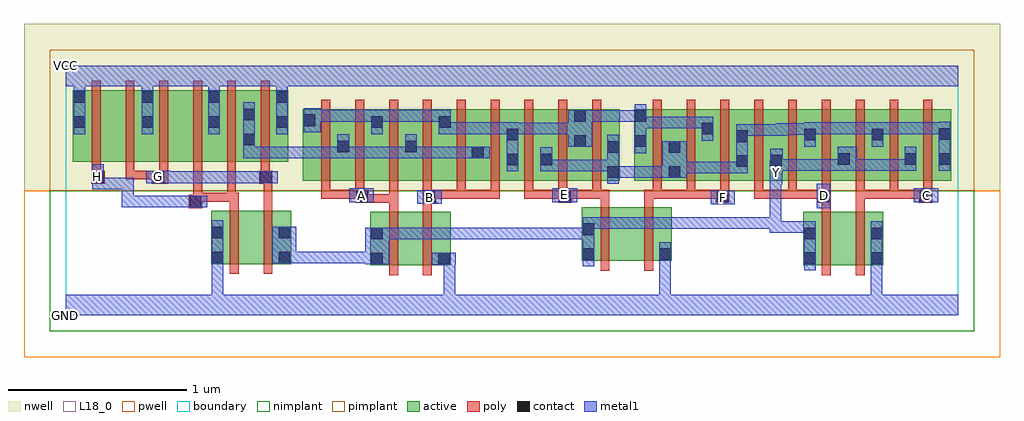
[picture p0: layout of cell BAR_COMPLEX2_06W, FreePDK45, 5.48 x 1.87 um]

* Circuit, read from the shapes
.subckt BAR_COMPLEX2_06W A B C D E F G GND H VCC Y
M1 n1 H GND VSUBS nfet w=0.3u l=0.05u
M2 Y G n1 VSUBS nfet w=0.3u l=0.05u
M3 n2 A Y VSUBS nfet w=0.3u l=0.05u
M4 GND B n2 VSUBS nfet w=0.3u l=0.05u
M5 n3 E Y VSUBS nfet w=0.3u l=0.05u
M6 GND F n3 VSUBS nfet w=0.3u l=0.05u
M7 n4 D Y VSUBS nfet w=0.3u l=0.05u
M8 GND C n4 VSUBS nfet w=0.3u l=0.05u
M9 n5 H VCC n6 pfet w=0.4u l=0.05u
M10 VCC G n5 n6 pfet w=0.4u l=0.05u
M11 n7 G VCC n6 pfet w=0.4u l=0.05u
M12 VCC H n7 n6 pfet w=0.4u l=0.05u
M13 n8 H VCC n6 pfet w=0.4u l=0.05u
M14 VCC G n8 n6 pfet w=0.4u l=0.05u
M15 n8 A n9 n6 pfet w=0.4u l=0.05u m=3
M16 n9 B n8 n6 pfet w=0.4u l=0.05u m=3
M17 n10 E n9 n6 pfet w=0.4u l=0.05u m=3
M18 n10 F n9 n6 pfet w=0.4u l=0.05u m=3
M19 Y D n10 n6 pfet w=0.4u l=0.05u m=3
M20 n10 C Y n6 pfet w=0.4u l=0.05u m=3
.ends

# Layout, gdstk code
import gdstk
lib = gdstk.Library(unit=1e-6, precision=1e-09)
def R(c, l, rs):  # rectangles x0, y0, x1, y1
    for r in rs: c.add(gdstk.rectangle(r[:2], r[2:], *l))
def A(c, l, x, y, w, h, nx, ny, dx, dy):  # array of equal rectangles
    R(c, l, [(x+i*dx, y+j*dy, x+i*dx+w, y+j*dy+h) for i in range(nx) for j in range(ny)])
active = (1, 0)
pwell = (2, 0)
nwell = (3, 0)
nimplant = (4, 0)
pimplant = (5, 0)
poly = (9, 0)
contact = (10, 0)
metal1 = (11, 0)
L18_0 = (18, 0)
boundary = (235, 0)

bar_complex2_06w = lib.new_cell('BAR_COMPLEX2_06W')
A(bar_complex2_06w, active, 1.33, 0.755, 0.265, 0.4, 4, 1, 0.19, 0)
A(bar_complex2_06w, active, 3.76, 0.755, 0.265, 0.4, 4, 1, 0.19, 0)
R(bar_complex2_06w, active, [(1.71,0.28,1.785,0.58), (1.71,0.28,1.935,0.58), (1.935,0.28,2.16,0.58), (2.085,0.28,2.16,0.58), (4.14,0.28,4.365,0.58), (4.365,0.28,4.59,0.58), (4.515,0.28,4.59,0.58), (4.14,0.282,4.215,0.58), (0.815,0.287,0.89,0.587), (0.815,0.287,1.04,0.587), (1.04,0.287,1.265,0.587), (1.19,0.287,1.265,0.587), (2.897,0.305,2.972,0.605), (2.897,0.305,3.122,0.605), (3.122,0.305,3.402,0.605), (3.327,0.305,3.402,0.605), (1.33,0.755,1.405,1.155), (1.52,0.755,1.595,1.07), (1.9,0.755,1.975,1.07), (2.09,0.755,2.35,1.155), (2.275,0.755,2.545,1.155), (2.275,0.755,2.35,1.07), (2.47,0.755,2.545,1.155), (2.47,0.755,2.735,1.155), (2.66,0.755,2.925,1.155), (2.66,0.755,2.735,1.07), (2.85,0.755,3.11,1.155), (3.035,0.755,3.11,1.07), (3.19,0.755,3.265,1.155), (3.19,0.755,3.455,1.155), (3.38,0.755,3.64,1.155), (3.565,0.755,3.835,1.155), (3.76,0.755,3.835,1.155), (4.52,0.755,4.78,1.155), (4.705,0.755,4.97,1.155), (4.895,0.755,4.97,1.155), (3.38,0.767,3.455,1.07), (1.71,0.8,1.785,1.155), (2.09,0.8,2.165,1.155), (2.85,0.812,2.925,1.155), (3.95,0.83,4.025,1.07), (3.565,0.84,3.64,1.155), (4.33,0.84,4.405,1.07), (4.705,0.84,4.78,1.07), (0.04,0.862,0.115,1.262), (0.04,0.862,0.265,1.262), (0.265,0.862,0.495,1.262), (0.42,0.862,0.495,1.262), (0.42,0.862,0.645,1.262), (0.645,0.862,0.87,1.262), (0.795,0.862,0.87,1.262), (0.795,0.862,1.065,1.262), (0.99,0.862,1.25,1.262), (1.175,0.862,1.25,1.262), (0.99,0.907,1.065,1.165), (4.14,0.907,4.215,1.155), (4.52,0.907,4.595,1.155)])
R(bar_complex2_06w, pwell, [(-0.235,-0.235,5.245,0.7)])
R(bar_complex2_06w, nwell, [(-0.235,0.7,5.245,1.635)])
R(bar_complex2_06w, nimplant, [(-0.09,-0.09,5.1,0.7)])
R(bar_complex2_06w, pimplant, [(-0.09,0.7,5.1,1.49)])
A(bar_complex2_06w, poly, 3.65, 0.63, 0.075, 0.075, 3, 1, 0.57, 0)
A(bar_complex2_06w, poly, 2.005, 0.655, 0.05, 0.095, 6, 1, 0.19, 0)
A(bar_complex2_06w, poly, 2.195, 0.655, 0.05, 0.05, 3, 1, 0.19, 0)
A(bar_complex2_06w, poly, 3.295, 0.655, 0.05, 0.095, 9, 1, 0.19, 0)
A(bar_complex2_06w, poly, 3.295, 0.655, 0.24, 0.05, 3, 1, 0.57, 0)
A(bar_complex2_06w, poly, 3.485, 0.655, 0.215, 0.05, 3, 1, 0.57, 0)
A(bar_complex2_06w, poly, 1.435, 0.7, 0.05, 0.51, 9, 1, 0.19, 0)
A(bar_complex2_06w, poly, 3.295, 0.7, 0.05, 0.51, 9, 1, 0.19, 0)
A(bar_complex2_06w, poly, 0.145, 0.762, 0.05, 0.095, 3, 1, 0.19, 0)
A(bar_complex2_06w, poly, 0.145, 0.807, 0.05, 0.51, 6, 1, 0.19, 0)
R(bar_complex2_06w, poly, [(1.815,0.225,1.865,0.635), (2.005,0.225,2.055,0.635), (4.245,0.225,4.295,0.635), (4.435,0.225,4.485,0.635), (0.92,0.232,0.97,0.642), (1.11,0.232,1.16,0.642), (3.002,0.25,3.052,0.66), (3.247,0.25,3.297,0.66), (1.815,0.585,1.865,0.68), (2.005,0.585,2.055,0.68), (4.245,0.585,4.295,0.68), (4.435,0.585,4.485,0.705), (0.92,0.592,0.97,0.687), (1.11,0.592,1.16,0.787), (0.69,0.6,0.765,0.675), (3.002,0.61,3.052,0.705), (3.247,0.61,3.297,0.705), (0.715,0.625,0.765,0.687), (1.625,0.63,1.7,0.705), (1.65,0.63,1.865,0.68), (1.815,0.63,1.865,0.68), (1.815,0.63,1.865,0.68), (1.815,0.63,1.865,0.68), (1.815,0.63,1.865,0.75), (2.005,0.63,2.08,0.705), (2.765,0.63,2.84,0.705), (0.715,0.637,0.765,0.687), (0.715,0.637,0.765,0.687), (0.715,0.637,0.765,0.687), (0.715,0.637,0.955,0.687), (0.715,0.637,0.765,0.857), (0.905,0.637,0.955,0.687), (0.905,0.637,0.955,0.687), (0.905,0.637,0.955,0.857), (0.905,0.637,0.97,0.687), (1.435,0.655,1.485,0.75), (1.435,0.655,1.485,0.705), (1.435,0.655,1.485,0.705), (1.435,0.655,1.485,0.705), (1.435,0.655,1.675,0.705), (1.625,0.655,1.675,0.75), (2.03,0.655,2.08,0.705), (2.03,0.655,2.08,0.705), (2.03,0.655,2.245,0.705), (2.195,0.655,2.245,0.705), (2.195,0.655,2.245,0.705), (2.195,0.655,2.435,0.705), (2.575,0.655,2.625,0.705), (2.575,0.655,2.625,0.705), (2.575,0.655,2.815,0.705), (2.79,0.655,2.84,0.705), (2.79,0.655,2.84,0.705), (2.79,0.655,3.005,0.705), (2.955,0.655,3.052,0.705), (3.247,0.655,3.345,0.705), (3.295,0.655,3.345,0.705), (3.295,0.655,3.345,0.705), (3.485,0.655,3.535,0.705), (3.65,0.655,3.7,0.705), (3.65,0.655,3.7,0.705), (3.865,0.655,3.915,0.705), (3.865,0.655,3.915,0.705), (3.865,0.655,3.915,0.705), (4.055,0.655,4.105,0.705), (4.22,0.655,4.27,0.705), (4.22,0.655,4.27,0.705), (4.435,0.655,4.485,0.705), (4.625,0.655,4.675,0.705), (4.625,0.655,4.675,0.705), (4.625,0.655,4.675,0.705), (4.79,0.655,4.84,0.705), (4.79,0.655,4.84,0.705), (0.142,0.737,0.217,0.812), (0.482,0.737,0.575,0.812), (1.085,0.737,1.16,0.812), (0.335,0.762,0.385,0.812), (0.335,0.762,0.532,0.812), (0.482,0.762,0.532,0.812), (0.482,0.762,0.532,0.812), (1.095,0.762,1.145,0.857)])
A(bar_complex2_06w, contact, 3.655, 0.635, 0.065, 0.065, 3, 1, 0.57, 0)
R(bar_complex2_06w, contact, [(1.715,0.285,1.78,0.35), (2.09,0.285,2.155,0.35), (4.145,0.287,4.21,0.352), (4.52,0.287,4.585,0.352), (0.82,0.292,0.885,0.357), (1.195,0.292,1.26,0.357), (2.902,0.31,2.967,0.375), (3.332,0.31,3.397,0.375), (1.715,0.425,1.78,0.49), (4.145,0.427,4.21,0.492), (4.52,0.427,4.585,0.492), (0.82,0.432,0.885,0.497), (1.195,0.432,1.26,0.497), (2.902,0.45,2.967,0.515), (0.695,0.605,0.76,0.67), (1.63,0.635,1.695,0.7), (2.01,0.635,2.075,0.7), (2.77,0.635,2.835,0.7), (0.147,0.742,0.212,0.807), (0.487,0.742,0.552,0.807), (1.09,0.742,1.155,0.807), (3.04,0.772,3.105,0.837), (3.385,0.772,3.45,0.837), (3.765,0.832,3.83,0.897), (3.955,0.835,4.02,0.9), (2.475,0.842,2.54,0.907), (2.665,0.842,2.73,0.907), (4.335,0.845,4.4,0.91), (4.71,0.845,4.775,0.91), (4.9,0.845,4.965,0.91), (2.28,0.88,2.345,0.945), (3.04,0.912,3.105,0.977), (3.385,0.912,3.45,0.977), (1.525,0.915,1.59,0.98), (1.905,0.915,1.97,0.98), (2.855,0.945,2.92,1.01), (3.195,0.945,3.26,1.01), (0.995,0.955,1.06,1.02), (3.765,0.972,3.83,1.037), (2.475,0.982,2.54,1.047), (4.145,0.982,4.21,1.047), (4.525,0.982,4.59,1.047), (4.9,0.985,4.965,1.05), (3.57,1.015,3.635,1.08), (0.045,1.052,0.11,1.117), (0.425,1.052,0.49,1.117), (0.8,1.052,0.865,1.117), (1.18,1.052,1.245,1.117), (1.715,1.052,1.78,1.117), (2.095,1.052,2.16,1.117), (1.335,1.062,1.4,1.127), (2.855,1.085,2.92,1.15), (3.195,1.085,3.26,1.15), (0.995,1.095,1.06,1.16), (0.045,1.192,0.11,1.257), (0.425,1.192,0.49,1.257), (0.8,1.192,0.865,1.257), (1.18,1.192,1.245,1.257)])
R(bar_complex2_06w, metal1, [(0,0,5.01,0.115), (0.82,0.05,0.885,0.115), (0.82,0.05,0.885,0.115), (0.82,0.05,0.885,0.115), (0.82,0.05,0.885,0.115), (0.82,0.05,0.885,0.322), (2.122,0.05,2.187,0.347), (3.332,0.05,3.397,0.34), (4.52,0.05,4.585,0.115), (4.52,0.05,4.585,0.115), (4.52,0.05,4.585,0.115), (4.52,0.05,4.585,0.115), (4.52,0.05,4.585,0.317), (4.145,0.252,4.21,0.527), (4.52,0.252,4.585,0.527), (0.82,0.257,0.885,0.532), (2.902,0.275,2.967,0.55), (3.332,0.275,3.397,0.34), (3.332,0.275,3.397,0.34), (3.332,0.275,3.397,0.34), (3.332,0.275,3.397,0.34), (3.332,0.275,3.397,0.41), (2.055,0.282,2.19,0.35), (2.122,0.282,2.187,0.347), (2.122,0.282,2.187,0.347), (2.122,0.282,2.187,0.347), (2.122,0.282,2.187,0.347), (1.68,0.285,1.815,0.49), (1.16,0.292,1.295,0.497), (1.23,0.292,1.295,0.357), (1.23,0.292,1.295,0.357), (1.23,0.292,1.432,0.357), (1.367,0.292,1.432,0.357), (1.367,0.292,1.607,0.357), (1.542,0.292,1.607,0.357), (1.542,0.292,1.607,0.357), (1.542,0.292,1.607,0.357), (1.542,0.292,1.745,0.357), (1.75,0.425,1.815,0.49), (1.75,0.425,1.815,0.49), (1.75,0.425,1.982,0.49), (1.917,0.425,1.982,0.49), (1.917,0.425,2.122,0.49), (2.057,0.425,2.122,0.49), (2.057,0.425,2.122,0.49), (2.057,0.425,2.122,0.49), (2.057,0.425,2.27,0.49), (2.205,0.425,2.27,0.49), (2.205,0.425,2.305,0.49), (2.24,0.425,2.305,0.49), (2.24,0.425,2.442,0.49), (2.377,0.425,2.442,0.49), (2.377,0.425,2.442,0.49), (2.377,0.425,2.442,0.49), (2.377,0.425,2.58,0.49), (2.515,0.425,2.58,0.49), (2.515,0.425,2.73,0.49), (2.665,0.425,2.73,0.49), (2.665,0.425,2.73,0.49), (2.665,0.425,2.73,0.49), (2.665,0.425,2.967,0.49), (3.952,0.462,4.21,0.527), (3.952,0.462,4.017,0.55), (2.902,0.485,2.967,0.55), (2.902,0.485,2.967,0.55), (2.902,0.485,3.122,0.55), (3.057,0.485,3.122,0.55), (3.057,0.485,3.122,0.55), (3.057,0.485,3.122,0.55), (3.057,0.485,3.26,0.55), (3.195,0.485,3.26,0.55), (3.195,0.485,3.497,0.55), (3.432,0.485,3.497,0.55), (3.432,0.485,3.497,0.55), (3.432,0.485,3.497,0.55), (3.432,0.485,3.692,0.55), (3.627,0.485,3.692,0.55), (3.627,0.485,3.692,0.55), (3.627,0.485,3.692,0.55), (3.627,0.485,3.88,0.55), (3.815,0.485,3.88,0.55), (3.815,0.485,3.88,0.55), (3.815,0.485,3.88,0.55), (3.815,0.485,4.017,0.55), (3.952,0.485,4.017,0.55), (3.952,0.485,4.017,0.55), (3.952,0.485,4.017,0.797), (4.215,0.6,4.292,0.737), (0.315,0.605,0.38,0.67), (0.315,0.605,0.587,0.67), (0.315,0.605,0.38,0.772), (0.522,0.605,0.587,0.67), (0.522,0.605,0.587,0.67), (0.522,0.605,0.587,0.67), (0.522,0.605,0.587,0.67), (0.522,0.605,0.587,0.67), (0.522,0.605,0.725,0.67), (0.66,0.605,0.795,0.67), (3.62,0.622,3.757,0.7), (1.972,0.625,2.11,0.702), (1.592,0.635,1.73,0.712), (2.732,0.635,2.87,0.712), (4.76,0.635,4.897,0.712), (0.147,0.707,0.212,0.772), (0.147,0.707,0.212,0.772), (0.147,0.707,0.38,0.772), (0.147,0.707,0.212,0.847), (0.315,0.707,0.38,0.772), (0.315,0.707,0.38,0.772), (0.315,0.707,0.38,0.772), (3.952,0.732,4.022,0.867), (3.04,0.737,3.105,1.012), (0.452,0.742,0.587,0.812), (0.522,0.742,0.587,0.807), (0.522,0.742,0.587,0.807), (0.522,0.742,0.785,0.807), (0.72,0.742,0.785,0.807), (0.72,0.742,0.785,0.807), (0.72,0.742,0.785,0.807), (0.72,0.742,0.922,0.807), (0.857,0.742,0.922,0.807), (0.857,0.742,1.06,0.807), (0.995,0.742,1.06,0.807), (0.995,0.742,1.12,0.807), (1.055,0.742,1.19,0.807), (3.04,0.772,3.105,0.837), (3.04,0.772,3.105,0.837), (3.04,0.772,3.36,0.837), (3.295,0.772,3.36,0.837), (3.295,0.772,3.415,0.837), (3.35,0.772,3.485,0.977), (3.42,0.797,3.497,0.862), (3.432,0.797,3.497,0.862), (3.432,0.797,3.635,0.862), (3.57,0.797,3.635,0.862), (3.57,0.797,3.635,0.862), (3.57,0.797,3.635,0.862), (3.57,0.797,3.83,0.862), (3.765,0.797,3.83,1.072), (3.955,0.8,4.025,0.935), (3.955,0.802,4.02,0.867), (2.475,0.807,2.54,1.082), (2.665,0.807,2.73,0.872), (2.665,0.807,2.73,0.872), (2.665,0.807,2.73,0.942), (2.665,0.807,2.885,0.872), (2.82,0.807,2.885,0.872), (2.82,0.807,2.885,0.872), (2.82,0.807,2.885,0.872), (2.82,0.807,3.105,0.872), (3.96,0.81,4.025,0.875), (3.96,0.81,4.025,0.875), (3.96,0.81,4.262,0.875), (4.197,0.81,4.262,0.875), (4.197,0.81,4.262,0.875), (4.197,0.81,4.262,0.875), (4.197,0.81,4.4,0.875), (4.335,0.81,4.442,0.945), (4.377,0.81,4.452,0.875), (4.387,0.81,4.452,0.875), (4.387,0.81,4.595,0.875), (4.53,0.81,4.595,0.875), (4.53,0.81,4.595,0.875), (4.53,0.81,4.595,0.875), (4.53,0.81,4.775,0.875), (4.71,0.81,4.775,0.945), (4.9,0.81,4.965,1.085), (0.995,0.88,1.197,0.945), (0.995,0.88,1.06,0.985), (1.132,0.88,1.197,0.945), (1.132,0.88,1.452,0.945), (1.387,0.88,1.452,0.945), (1.387,0.88,1.452,0.945), (1.387,0.88,1.452,0.945), (1.387,0.88,1.59,0.945), (1.525,0.88,1.59,0.945), (1.525,0.88,1.59,0.945), (1.525,0.88,1.59,1.015), (1.525,0.88,1.815,0.945), (1.75,0.88,1.815,0.945), (1.75,0.88,1.815,0.945), (1.75,0.88,1.815,0.945), (1.75,0.88,1.97,0.945), (1.905,0.88,1.97,1.015), (1.905,0.88,2.122,0.945), (2.057,0.88,2.122,0.945), (2.057,0.88,2.122,0.945), (2.057,0.88,2.122,0.945), (2.057,0.88,2.27,0.945), (2.205,0.88,2.27,0.945), (2.205,0.88,2.31,0.945), (2.245,0.88,2.38,0.945), (3.195,0.91,3.26,1.185), (0.995,0.92,1.06,0.985), (0.995,0.92,1.06,1.195), (2.82,0.945,2.955,1.15), (4.145,0.947,4.21,1.082), (4.525,0.947,4.59,1.082), (3.57,0.98,3.635,1.115), (3.765,1.007,3.83,1.072), (3.765,1.007,3.83,1.072), (3.765,1.007,3.83,1.072), (3.765,1.007,3.855,1.072), (3.79,1.007,4.05,1.072), (3.985,1.007,4.05,1.077), (3.985,1.012,4.05,1.077), (3.985,1.012,4.05,1.077), (3.985,1.012,4.21,1.077), (2.475,1.015,2.592,1.08), (2.527,1.015,2.592,1.08), (2.527,1.015,2.747,1.08), (2.682,1.015,2.747,1.08), (2.682,1.015,2.747,1.08), (2.682,1.015,2.747,1.08), (2.682,1.015,2.885,1.08), (0.045,1.017,0.11,1.292), (0.425,1.017,0.49,1.292), (0.8,1.017,0.865,1.292), (1.18,1.017,1.245,1.292), (1.715,1.017,1.78,1.152), (2.095,1.017,2.16,1.152), (2.095,1.017,2.265,1.082), (2.2,1.017,2.265,1.082), (2.2,1.017,2.305,1.082), (2.24,1.017,2.305,1.082), (2.24,1.017,2.407,1.082), (2.342,1.017,2.407,1.082), (2.342,1.017,2.54,1.082), (4.145,1.017,4.21,1.082), (4.145,1.017,4.21,1.082), (4.145,1.017,4.447,1.082), (4.382,1.017,4.447,1.082), (4.382,1.017,4.447,1.082), (4.382,1.017,4.447,1.082), (4.382,1.017,4.59,1.082), (4.525,1.017,4.59,1.082), (4.525,1.017,4.59,1.082), (4.525,1.017,4.827,1.082), (4.762,1.017,4.827,1.082), (4.762,1.017,4.965,1.082), (4.9,1.017,4.965,1.082), (4.9,1.017,4.965,1.082), (1.335,1.027,1.432,1.162), (3.195,1.05,3.26,1.115), (3.195,1.05,3.26,1.115), (3.195,1.05,3.497,1.115), (3.432,1.05,3.497,1.115), (3.432,1.05,3.497,1.115), (3.432,1.05,3.497,1.115), (3.432,1.05,3.635,1.115), (2.89,1.085,2.955,1.15), (2.89,1.085,2.955,1.15), (2.89,1.085,3.105,1.15), (3.04,1.085,3.105,1.15), (3.04,1.085,3.26,1.15), (1.367,1.087,1.432,1.152), (1.367,1.087,1.432,1.152), (1.367,1.087,1.607,1.152), (1.542,1.087,1.607,1.152), (1.542,1.087,1.607,1.152), (1.542,1.087,1.607,1.152), (1.542,1.087,1.78,1.152), (1.715,1.087,1.78,1.152), (1.715,1.087,1.78,1.152), (1.715,1.087,1.952,1.152), (1.887,1.087,1.952,1.152), (1.887,1.087,1.952,1.152), (1.887,1.087,1.97,1.152), (1.905,1.087,2.16,1.152), (0.045,1.227,0.11,1.35), (0.425,1.227,0.49,1.35), (0.8,1.227,0.865,1.35), (1.18,1.227,1.245,1.35), (0,1.285,5.01,1.4)])
R(bar_complex2_06w, L18_0, [(0,0,5.01,0.115), (0.82,0.05,0.885,0.115), (0.82,0.05,0.885,0.115), (0.82,0.05,0.885,0.115), (0.82,0.05,0.885,0.115), (0.82,0.05,0.885,0.322), (2.122,0.05,2.187,0.347), (3.332,0.05,3.397,0.34), (4.52,0.05,4.585,0.115), (4.52,0.05,4.585,0.115), (4.52,0.05,4.585,0.115), (4.52,0.05,4.585,0.115), (4.52,0.05,4.585,0.317), (4.145,0.252,4.21,0.527), (4.52,0.252,4.585,0.527), (0.82,0.257,0.885,0.532), (2.902,0.275,2.967,0.55), (3.332,0.275,3.397,0.34), (3.332,0.275,3.397,0.34), (3.332,0.275,3.397,0.34), (3.332,0.275,3.397,0.34), (3.332,0.275,3.397,0.41), (2.055,0.282,2.19,0.35), (2.122,0.282,2.187,0.347), (2.122,0.282,2.187,0.347), (2.122,0.282,2.187,0.347), (2.122,0.282,2.187,0.347), (1.68,0.285,1.815,0.49), (1.16,0.292,1.295,0.497), (1.23,0.292,1.295,0.357), (1.23,0.292,1.295,0.357), (1.23,0.292,1.432,0.357), (1.367,0.292,1.432,0.357), (1.367,0.292,1.607,0.357), (1.542,0.292,1.607,0.357), (1.542,0.292,1.607,0.357), (1.542,0.292,1.607,0.357), (1.542,0.292,1.745,0.357), (1.75,0.425,1.815,0.49), (1.75,0.425,1.815,0.49), (1.75,0.425,1.982,0.49), (1.917,0.425,1.982,0.49), (1.917,0.425,2.122,0.49), (2.057,0.425,2.122,0.49), (2.057,0.425,2.122,0.49), (2.057,0.425,2.122,0.49), (2.057,0.425,2.27,0.49), (2.205,0.425,2.27,0.49), (2.205,0.425,2.305,0.49), (2.24,0.425,2.305,0.49), (2.24,0.425,2.442,0.49), (2.377,0.425,2.442,0.49), (2.377,0.425,2.442,0.49), (2.377,0.425,2.442,0.49), (2.377,0.425,2.58,0.49), (2.515,0.425,2.58,0.49), (2.515,0.425,2.73,0.49), (2.665,0.425,2.73,0.49), (2.665,0.425,2.73,0.49), (2.665,0.425,2.73,0.49), (2.665,0.425,2.967,0.49), (3.952,0.462,4.017,0.55), (3.952,0.462,4.21,0.527), (2.902,0.485,2.967,0.55), (2.902,0.485,2.967,0.55), (2.902,0.485,3.122,0.55), (3.057,0.485,3.122,0.55), (3.057,0.485,3.122,0.55), (3.057,0.485,3.122,0.55), (3.057,0.485,3.26,0.55), (3.195,0.485,3.26,0.55), (3.195,0.485,3.497,0.55), (3.432,0.485,3.497,0.55), (3.432,0.485,3.497,0.55), (3.432,0.485,3.497,0.55), (3.432,0.485,3.692,0.55), (3.627,0.485,3.692,0.55), (3.627,0.485,3.692,0.55), (3.627,0.485,3.692,0.55), (3.627,0.485,3.88,0.55), (3.815,0.485,3.88,0.55), (3.815,0.485,3.88,0.55), (3.815,0.485,3.88,0.55), (3.815,0.485,4.017,0.55), (3.952,0.485,4.017,0.55), (3.952,0.485,4.017,0.55), (3.952,0.485,4.017,0.797), (4.215,0.6,4.292,0.737), (0.315,0.605,0.38,0.67), (0.315,0.605,0.38,0.772), (0.315,0.605,0.587,0.67), (0.522,0.605,0.587,0.67), (0.522,0.605,0.587,0.67), (0.522,0.605,0.587,0.67), (0.522,0.605,0.587,0.67), (0.522,0.605,0.587,0.67), (0.522,0.605,0.725,0.67), (0.66,0.605,0.795,0.67), (3.62,0.622,3.757,0.7), (1.972,0.625,2.11,0.702), (2.007,0.627,2.072,0.692), (3.657,0.627,3.722,0.692), (1.592,0.635,1.73,0.712), (2.732,0.635,2.87,0.712), (4.76,0.635,4.897,0.712), (1.627,0.637,1.692,0.702), (4.227,0.637,4.292,0.702), (4.797,0.637,4.862,0.702), (2.767,0.647,2.832,0.712), (0.147,0.707,0.212,0.847), (0.147,0.707,0.212,0.772), (0.147,0.707,0.212,0.772), (0.147,0.707,0.38,0.772), (0.315,0.707,0.38,0.772), (0.315,0.707,0.38,0.772), (0.315,0.707,0.38,0.772), (3.952,0.732,4.022,0.867), (0.452,0.742,0.587,0.812), (0.522,0.742,0.587,0.807), (0.522,0.742,0.587,0.807), (0.522,0.742,0.785,0.807), (0.72,0.742,0.785,0.807), (0.72,0.742,0.785,0.807), (0.72,0.742,0.785,0.807), (0.72,0.742,0.922,0.807), (0.857,0.742,0.922,0.807), (0.857,0.742,1.06,0.807), (0.995,0.742,1.06,0.807), (0.995,0.742,1.12,0.807), (1.055,0.742,1.19,0.807), (0.147,0.747,0.212,0.812), (0.487,0.747,0.552,0.812), (3.957,0.767,4.022,0.832), (3.955,0.8,4.025,0.935), (3.955,0.802,4.02,0.867), (3.96,0.81,4.025,0.875), (3.96,0.81,4.025,0.875), (3.96,0.81,4.262,0.875), (4.197,0.81,4.262,0.875), (4.197,0.81,4.262,0.875), (4.197,0.81,4.262,0.875), (4.197,0.81,4.4,0.875), (4.335,0.81,4.442,0.945), (4.377,0.81,4.452,0.875), (4.387,0.81,4.452,0.875), (4.387,0.81,4.595,0.875), (4.53,0.81,4.595,0.875), (4.53,0.81,4.595,0.875), (4.53,0.81,4.595,0.875), (4.53,0.81,4.775,0.875), (4.71,0.81,4.775,0.945), (0.045,1.017,0.11,1.292), (0.425,1.017,0.49,1.292), (0.8,1.017,0.865,1.292), (1.18,1.017,1.245,1.292), (0.045,1.227,0.11,1.35), (0.425,1.227,0.49,1.35), (0.8,1.227,0.865,1.35), (1.18,1.227,1.245,1.35), (0,1.285,5.01,1.4)])
R(bar_complex2_06w, boundary, [(0,0,5.01,1.4)])
bar_complex2_06w.add(gdstk.Label('A', (1.66,0.67), layer=11, texttype=0))
bar_complex2_06w.add(gdstk.Label('B', (2.04,0.66), layer=11, texttype=0))
bar_complex2_06w.add(gdstk.Label('C', (4.83,0.67), layer=11, texttype=0))
bar_complex2_06w.add(gdstk.Label('D', (4.26,0.67), layer=11, texttype=0))
bar_complex2_06w.add(gdstk.Label('E', (2.8,0.68), layer=11, texttype=0))
bar_complex2_06w.add(gdstk.Label('F', (3.69,0.66), layer=11, texttype=0))
bar_complex2_06w.add(gdstk.Label('G', (0.52,0.78), layer=11, texttype=0))
bar_complex2_06w.add(gdstk.Label('H', (0.18,0.78), layer=11, texttype=0))
bar_complex2_06w.add(gdstk.Label('Y', (3.99,0.8), layer=11, texttype=0))
bar_complex2_06w.add(gdstk.Label('VCC', (0,1.4), layer=11, texttype=0))
bar_complex2_06w.add(gdstk.Label('GND', (0,0), layer=11, texttype=0))

lib.write_gds('BAR_COMPLEX2_06W.gds')
